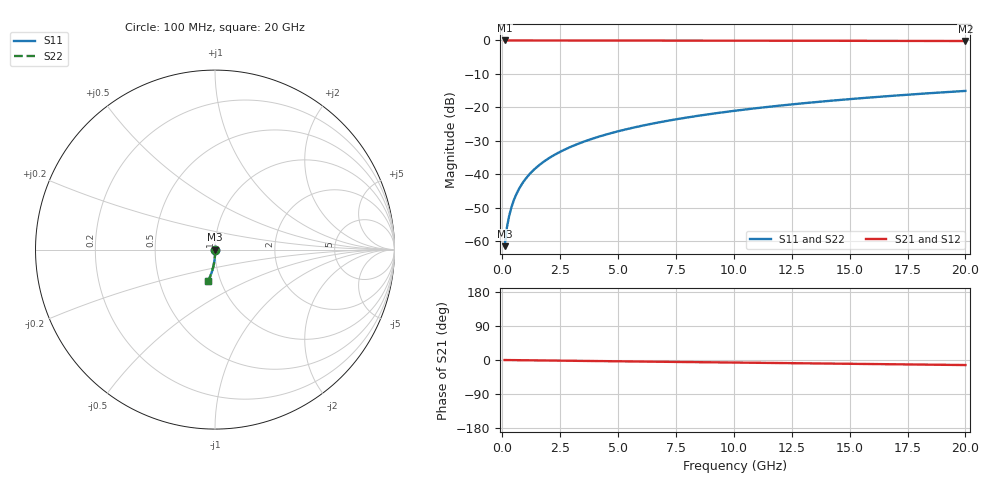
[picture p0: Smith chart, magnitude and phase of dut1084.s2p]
! Touchstone file exported from HFSS 2026.1.0
!  File:  C:/ffzhzh/LocalFiles/Ansys_Project_Files/temp_train_TSV_1084_1783190196_22436.aedt
!  Generated:  02:37:49 AM Jul  5, 2026
!  Design:  TSV
!  Project:  temp_train_TSV_1084_1783190196_22436
! Variables:
!  h_bsmrdl = 2um
!  h_ox = 20um
!  h_rdl = 5um
!  h_sub = 91.52um
!  h_tmrdl = 5um
!  h_tsv = 91.52um
!  h_via = 3um
!  l_bsmrdl = 300um
!  l_sub = 412.18um
!  l_tmrdl = 200um
!  m_sub = 200um
!  pitch = 13.4um
!  r_tsv = 6.09um
!  s_tmrdl = 10um
!  w_bsmrdl = 18um
!  w_sub = 500um
!  w_tmrdl = 12um
!  x_tsv_center1 = 206um
!  x_tsv_center2 = 524um
!  x_tsv_center3 = 736um
!  x_tsv_center4 = 1054um
!  x_tsv_center5 = 1266um
!  x_tsv_center6 = 1584um
# GHz S MA R 50.000000
! Terminal data exported
! Port[1] = TSV1_1_T1
! Port[2] = TSV1_1_T2
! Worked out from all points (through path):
!   200 points, 100 MHz to 20 GHz, reference 50 ohm
!   highest |S21| = 0.00 dB at 100 MHz (marker M1); lowest = -0.2 dB at 20 GHz (marker M2)
!   group delay of S21, straight-line fit = 1.85 ps
!   lowest |S11| = -61.4 dB at 100 MHz (marker M3), VSWR 1.00, Z = 50 - j0.0778 ohm
!   |S11| at or under -10 dB: start of sweep to end of sweep
!   |S22| runs from -61.4 to -15.1 dB; largest |S21 - S12| = 2.1e-15
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0.1  0.0008511 -66.0  0.9997 -0.1  0.9997 -0.1  0.0008511 -66.0
! Gamma 0 0 0 0
! Port Impedance 50 0 50 0
0.2  0.001621 -76.0  0.9996 -0.1  0.9996 -0.1  0.001621 -76.0
0.3  0.002438 -79.3  0.9995 -0.2  0.9995 -0.2  0.002438 -79.3
0.4  0.003282 -81.1  0.9995 -0.3  0.9995 -0.3  0.003282 -81.1
0.5  0.004143 -82.2  0.9994 -0.4  0.9994 -0.4  0.004143 -82.2
0.7  0.005894 -83.9  0.9993 -0.5  0.9993 -0.5  0.005894 -83.9
0.8  0.006776 -84.5  0.9993 -0.6  0.9993 -0.6  0.006776 -84.5
1  0.008541 -85.5  0.9992 -0.7  0.9992 -0.7  0.008541 -85.5
1.2  0.01031 -86.2  0.9991 -0.8  0.9991 -0.8  0.01031 -86.2
1.4  0.01207 -86.8  0.999 -1.0  0.999 -1.0  0.01207 -86.8
1.7  0.01472 -87.5  0.9989 -1.2  0.9989 -1.2  0.01472 -87.5
2  0.01737 -88.0  0.9988 -1.4  0.9988 -1.4  0.01737 -88.0
2.7  0.02357 -89.0  0.9985 -1.9  0.9985 -1.9  0.02357 -89.0
3.5  0.03068 -89.9  0.9982 -2.4  0.9982 -2.4  0.03068 -89.9
4.2  0.03693 -90.5  0.9978 -2.9  0.9978 -2.9  0.03693 -90.5
5  0.04409 -91.2  0.9973 -3.4  0.9973 -3.4  0.04409 -91.2
6.8  0.06024 -92.7  0.9961 -4.6  0.9961 -4.6  0.06024 -92.7
8.3  0.07369 -93.8  0.995 -5.6  0.995 -5.6  0.07369 -93.8
10.1  0.08978 -95.2  0.9934 -6.8  0.9934 -6.8  0.08978 -95.2
13.4  0.1191 -97.6  0.9899 -9.0  0.9899 -9.0  0.1191 -97.6
16.7  0.148 -99.9  0.9856 -11.2  0.9856 -11.2  0.148 -99.9
20  0.1766 -102.1  0.9804 -13.3  0.9804 -13.3  0.1766 -102.1
